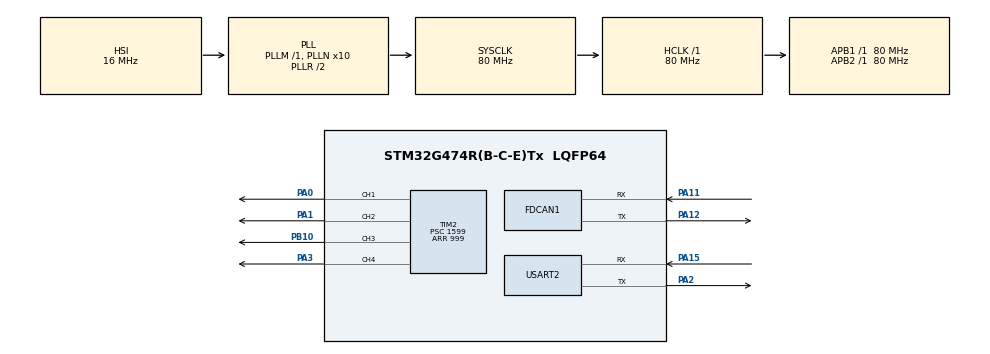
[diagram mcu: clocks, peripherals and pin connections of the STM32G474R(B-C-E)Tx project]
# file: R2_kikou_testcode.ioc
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FDCAN1.CalculateBaudRateNominal=1000000
FDCAN1.CalculateTimeBitNominal=1000
FDCAN1.CalculateTimeQuantumNominal=50.0
FDCAN1.DataPrescaler=2
FDCAN1.DataTimeSeg1=15
FDCAN1.DataTimeSeg2=4
FDCAN1.FrameFormat=FDCAN_FRAME_FD_NO_BRS
FDCAN1.NominalPrescaler=4
FDCAN1.NominalTimeSeg1=15
FDCAN1.NominalTimeSeg2=4
FDCAN1.StdFiltersNbr=1
Mcu.Family=STM32G4
Mcu.Name=STM32G474R(B-C-E)Tx
Mcu.Package=LQFP64
NVIC.FDCAN1_IT0_IRQn=true\:0\:0\:false\:false\:true\:true\:true\:true
NVIC.FDCAN1_IT1_IRQn=true\:0\:0\:false\:false\:true\:true\:true\:true
NVIC.PriorityGroup=NVIC_PRIORITYGROUP_4
PA0.Signal=S_TIM2_CH1
PA1.Signal=S_TIM2_CH2
PA11.Mode=FDCAN_Activate
PA11.Signal=FDCAN1_RX
PA12.Mode=FDCAN_Activate
PA12.Signal=FDCAN1_TX
PA15.Mode=Asynchronous
PA15.Signal=USART2_RX
PA2.Mode=Asynchronous
PA2.Signal=USART2_TX
PA3.Signal=S_TIM2_CH4
PB10.Signal=S_TIM2_CH3
ProjectManager.HeapSize=0x200
ProjectManager.StackSize=0x400
ProjectManager.TargetToolchain=CMake
RCC.ADC12Freq_Value=80000000
RCC.ADC345Freq_Value=80000000
RCC.AHBFreq_Value=80000000
RCC.APB1Freq_Value=80000000
RCC.APB1TimFreq_Value=80000000
RCC.APB2Freq_Value=80000000
RCC.APB2TimFreq_Value=80000000
RCC.CortexFreq_Value=80000000
RCC.EXTERNAL_CLOCK_VALUE=12288000
RCC.HCLKFreq_Value=80000000
RCC.HSE_VALUE=8000000
RCC.HSI48_VALUE=48000000
RCC.HSI_VALUE=16000000
RCC.LSE_VALUE=32768
RCC.PLLN=10
RCC.SYSCLKFreq_VALUE=80000000
RCC.SYSCLKSource=RCC_SYSCLKSOURCE_PLLCLK
RCC.USBFreq_Value=80000000
RCC.VCOOutputFreq_Value=160000000
SH.S_TIM2_CH1.0=TIM2_CH1,PWM Generation1 CH1
SH.S_TIM2_CH2.0=TIM2_CH2,PWM Generation2 CH2
SH.S_TIM2_CH3.0=TIM2_CH3,PWM Generation3 CH3
SH.S_TIM2_CH4.0=TIM2_CH4,PWM Generation4 CH4
TIM2.Channel-PWM\ Generation1\ CH1=TIM_CHANNEL_1
TIM2.Channel-PWM\ Generation2\ CH2=TIM_CHANNEL_2
TIM2.Channel-PWM\ Generation3\ CH3=TIM_CHANNEL_3
TIM2.Channel-PWM\ Generation4\ CH4=TIM_CHANNEL_4
TIM2.OCMode_PWM-PWM\ Generation1\ CH1=TIM_OCMODE_PWM1
TIM2.OCPolarity_1=TIM_OCPOLARITY_LOW
TIM2.OCPolarity_2=TIM_OCPOLARITY_LOW
TIM2.OCPolarity_3=TIM_OCPOLARITY_LOW
TIM2.OCPolarity_4=TIM_OCPOLARITY_LOW
TIM2.PeriodNoDither=999
TIM2.Prescaler=1599
USART2.VirtualMode-Asynchronous=VM_ASYNC
VP_SYS_VS_DBSignals.Mode=DisableDeadBatterySignals
VP_TIM2_VS_ClockSourceINT.Mode=Internal
board=custom

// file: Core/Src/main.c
/* USER CODE BEGIN Header */
/**
  ******************************************************************************
  * @file           : main.c
  * @brief          : Main program body
  ******************************************************************************
  * @attention
  *
  * Copyright (c) 2026 STMicroelectronics.
  * All rights reserved.
  *
  * This software is licensed under terms that can be found in the LICENSE file
  * in the root directory of this software component.
  * If no LICENSE file comes with this software, it is provided AS-IS.
  *
  ******************************************************************************
  */
/* USER CODE END Header */
#include "main.h"

/* USER CODE BEGIN Includes */
#include <stdio.h>
/* USER CODE END Includes */

/* USER CODE BEGIN PTD */
FDCAN_TxHeaderTypeDef TxHeader;
FDCAN_RxHeaderTypeDef RxHeader;
uint8_t TxData[8];
uint8_t RxData[8];
uint8_t last_button=0;
uint8_t state=0;
/* USER CODE END PTD */

/* USER CODE BEGIN PD */
typedef struct {
  uint8_t step[2];
  uint8_t state;
  uint8_t last_button;
} Sabomota_t;

Sabomota_t servo1 = {{25,80},0,0}; //最小25、最大120
Sabomota_t servo2 = {{65,30},0,0};
Sabomota_t servo3 = {{125,80},0,0};

//受信用の変数
volatile uint8_t sequence_cmd = 0;
volatile uint8_t sequence_start = 0;

volatile uint32_t sequence_timer = 0;
volatile uint8_t sequence_state = 0;

/* USER CODE END PD */

FDCAN_HandleTypeDef hfdcan1;

TIM_HandleTypeDef htim2;

UART_HandleTypeDef huart2;

void SystemClock_Config(void);
static void MX_GPIO_Init(void);
static void MX_FDCAN1_Init(void);
static void MX_TIM2_Init(void);
static void MX_USART2_UART_Init(void);

/* USER CODE BEGIN 0 */
void HAL_FDCAN_RxFifo1Callback(FDCAN_HandleTypeDef *hfdcan, uint32_t RxFifo0ITs)  //callback関数はmainの中に入れなくてもいい
{
  if((RxFifo0ITs & FDCAN_IT_RX_FIFO1_NEW_MESSAGE) != RESET)
  {
    if (HAL_FDCAN_GetRxMessage(&hfdcan1, FDCAN_RX_FIFO1, &RxHeader, RxData) != HAL_OK) {
      printf("fdcan_getrxmessage is error\r\n");
      Error_Handler();
    }

    printf("RX ID=0x%03lX DATA0=%d\r\n",
    RxHeader.Identifier,
    RxData[0]);

    if (RxHeader.Identifier == 0x206){
      // printf("%d\n",RxData[0]);
      sequence_cmd = RxData[0];
      sequence_start = 1;
    }
  }
}

void FDCAN_RxTxSettings(void){
	FDCAN_FilterTypeDef FDCAN_Filter_settings;
	FDCAN_Filter_settings.IdType = FDCAN_STANDARD_ID;
	FDCAN_Filter_settings.FilterIndex = 0;
	FDCAN_Filter_settings.FilterType = FDCAN_FILTER_RANGE;
	FDCAN_Filter_settings.FilterConfig = FDCAN_FILTER_TO_RXFIFO1;
	FDCAN_Filter_settings.FilterID1 = 0x000;
	FDCAN_Filter_settings.FilterID2 = 0xfff;

	TxHeader.Identifier = 0x400;
	TxHeader.IdType = FDCAN_STANDARD_ID;
	TxHeader.TxFrameType = FDCAN_DATA_FRAME;
	TxHeader.DataLength = FDCAN_DLC_BYTES_8;
	TxHeader.ErrorStateIndicator = FDCAN_ESI_ACTIVE;
	TxHeader.BitRateSwitch = FDCAN_BRS_ON;
	TxHeader.FDFormat = FDCAN_FD_CAN;
	TxHeader.TxEventFifoControl = FDCAN_NO_TX_EVENTS;
	TxHeader.MessageMarker = 0;

	if (HAL_FDCAN_ConfigFilter(&hfdcan1, &FDCAN_Filter_settings) != HAL_OK){
		printf("fdcan_configfilter is error\r\n");
		Error_Handler();
	}

	if (HAL_FDCAN_ConfigGlobalFilter(&hfdcan1, FDCAN_REJECT, FDCAN_FILTER_REJECT, FDCAN_FILTER_REMOTE, FDCAN_FILTER_REMOTE) != HAL_OK){
		printf("fdcan_configglobalfilter is error\r\n");
		Error_Handler();
	}

	if (HAL_FDCAN_Start(&hfdcan1) != HAL_OK) {
		printf("fdcan_start is error\r\n");
		Error_Handler();
	}

	if (HAL_FDCAN_ActivateNotification(&hfdcan1, FDCAN_IT_RX_FIFO1_NEW_MESSAGE, 0) != HAL_OK){
		printf("fdcan_activatenotification is error\r\n");
		Error_Handler();
	}
}

// for printf()
// int _write(int file, char *ptr, int len)
// {
//     HAL_UART_Transmit(&huart2,(uint8_t *)ptr,len,10);
//     return len;
// }
/* USER CODE END 0 */

int main(void)
{

  /* MCU Configuration--------------------------------------------------------*/

  /* Reset of all peripherals, Initializes the Flash interface and the Systick. */
  HAL_Init();

  /* Configure the system clock */
  SystemClock_Config();

  /* Initialize all configured peripherals */
  MX_GPIO_Init();
  MX_FDCAN1_Init();
  MX_TIM2_Init();
  MX_USART2_UART_Init();
  /* USER CODE BEGIN 2 */
  FDCAN_RxTxSettings();
  HAL_TIM_PWM_Start(&htim2, TIM_CHANNEL_1);
  HAL_TIM_PWM_Start(&htim2, TIM_CHANNEL_2);
  HAL_TIM_PWM_Start(&htim2, TIM_CHANNEL_3);

  HAL_Delay(2000);

  //サーボの初期位置
  __HAL_TIM_SET_COMPARE(&htim2, TIM_CHANNEL_1, servo1.step[0]);
  __HAL_TIM_SET_COMPARE(&htim2, TIM_CHANNEL_2, servo2.step[0]);
  __HAL_TIM_SET_COMPARE(&htim2, TIM_CHANNEL_3, servo3.step[0]);

  HAL_Delay(500);
  /* USER CODE END 2 */

  /* Infinite loop */
  /* USER CODE BEGIN WHILE */
  while(1)
  {
    if(sequence_start){
        sequence_start = 0;

        if(sequence_cmd){
          sequence_state = 1;
        }
        else{
          sequence_state = 10;
        }
    }

    switch(sequence_state){
        case 1:
          __HAL_TIM_SET_COMPARE(&htim2, TIM_CHANNEL_1, servo1.step[1]);
          __HAL_TIM_SET_COMPARE(&htim2, TIM_CHANNEL_3, servo3.step[1]);
          sequence_timer = HAL_GetTick();
          sequence_state = 2;
          break;

        case 2:
          if(HAL_GetTick() - sequence_timer >= 500){
            __HAL_TIM_SET_COMPARE(&htim2, TIM_CHANNEL_2, servo2.step[1]);
            sequence_state = 0;
          }
          break;

        case 10:
           __HAL_TIM_SET_COMPARE(&htim2, TIM_CHANNEL_2, servo2.step[0]);
           sequence_timer = HAL_GetTick();
           sequence_state = 11;
           break;

        case 11:
          if(HAL_GetTick() - sequence_timer >=2000){
            __HAL_TIM_SET_COMPARE(&htim2, TIM_CHANNEL_1, servo1.step[0]);
            __HAL_TIM_SET_COMPARE(&htim2, TIM_CHANNEL_3, servo3.step[0]);
            sequence_state = 0;
          }
          break;

    }
    /* USER CODE END WHILE */

  }
}

void SystemClock_Config(void)
{
  RCC_OscInitTypeDef RCC_OscInitStruct = {0};
  RCC_ClkInitTypeDef RCC_ClkInitStruct = {0};

  /** Configure the main internal regulator output voltage
  */
  HAL_PWREx_ControlVoltageScaling(PWR_REGULATOR_VOLTAGE_SCALE1);

  /** Initializes the RCC Oscillators according to the specified parameters
  * in the RCC_OscInitTypeDef structure.
  */
  RCC_OscInitStruct.OscillatorType = RCC_OSCILLATORTYPE_HSI;
  RCC_OscInitStruct.HSIState = RCC_HSI_ON;
  RCC_OscInitStruct.HSICalibrationValue = RCC_HSICALIBRATION_DEFAULT;
  RCC_OscInitStruct.PLL.PLLState = RCC_PLL_ON;
  RCC_OscInitStruct.PLL.PLLSource = RCC_PLLSOURCE_HSI;
  RCC_OscInitStruct.PLL.PLLM = RCC_PLLM_DIV1;
  RCC_OscInitStruct.PLL.PLLN = 10;
  RCC_OscInitStruct.PLL.PLLP = RCC_PLLP_DIV2;
  RCC_OscInitStruct.PLL.PLLQ = RCC_PLLQ_DIV2;
  RCC_OscInitStruct.PLL.PLLR = RCC_PLLR_DIV2;
  if (HAL_RCC_OscConfig(&RCC_OscInitStruct) != HAL_OK)
  {
    Error_Handler();
  }

  /** Initializes the CPU, AHB and APB buses clocks
  */
  RCC_ClkInitStruct.ClockType = RCC_CLOCKTYPE_HCLK|RCC_CLOCKTYPE_SYSCLK
                              |RCC_CLOCKTYPE_PCLK1|RCC_CLOCKTYPE_PCLK2;
  RCC_ClkInitStruct.SYSCLKSource = RCC_SYSCLKSOURCE_PLLCLK;
  RCC_ClkInitStruct.AHBCLKDivider = RCC_SYSCLK_DIV1;
  RCC_ClkInitStruct.APB1CLKDivider = RCC_HCLK_DIV1;
  RCC_ClkInitStruct.APB2CLKDivider = RCC_HCLK_DIV1;

  if (HAL_RCC_ClockConfig(&RCC_ClkInitStruct, FLASH_LATENCY_2) != HAL_OK)
  {
    Error_Handler();
  }
}

static void MX_FDCAN1_Init(void)
{

  hfdcan1.Instance = FDCAN1;
  hfdcan1.Init.ClockDivider = FDCAN_CLOCK_DIV1;
  hfdcan1.Init.FrameFormat = FDCAN_FRAME_FD_NO_BRS;
  hfdcan1.Init.Mode = FDCAN_MODE_NORMAL;
  hfdcan1.Init.AutoRetransmission = DISABLE;
  hfdcan1.Init.TransmitPause = DISABLE;
  hfdcan1.Init.ProtocolException = DISABLE;
  hfdcan1.Init.NominalPrescaler = 4;
  hfdcan1.Init.NominalSyncJumpWidth = 1;
  hfdcan1.Init.NominalTimeSeg1 = 15;
  hfdcan1.Init.NominalTimeSeg2 = 4;
  hfdcan1.Init.DataPrescaler = 2;
  hfdcan1.Init.DataSyncJumpWidth = 1;
  hfdcan1.Init.DataTimeSeg1 = 15;
  hfdcan1.Init.DataTimeSeg2 = 4;
  hfdcan1.Init.StdFiltersNbr = 1;
  hfdcan1.Init.ExtFiltersNbr = 0;
  hfdcan1.Init.TxFifoQueueMode = FDCAN_TX_FIFO_OPERATION;
  if (HAL_FDCAN_Init(&hfdcan1) != HAL_OK)
  {
    Error_Handler();
  }

}

static void MX_TIM2_Init(void)
{

  TIM_ClockConfigTypeDef sClockSourceConfig = {0};
  TIM_MasterConfigTypeDef sMasterConfig = {0};
  TIM_OC_InitTypeDef sConfigOC = {0};

  htim2.Instance = TIM2;
  htim2.Init.Prescaler = 1599;
  htim2.Init.CounterMode = TIM_COUNTERMODE_UP;
  htim2.Init.Period = 999;
  htim2.Init.ClockDivision = TIM_CLOCKDIVISION_DIV1;
  htim2.Init.AutoReloadPreload = TIM_AUTORELOAD_PRELOAD_DISABLE;
  if (HAL_TIM_Base_Init(&htim2) != HAL_OK)
  {
    Error_Handler();
  }
  sClockSourceConfig.ClockSource = TIM_CLOCKSOURCE_INTERNAL;
  if (HAL_TIM_ConfigClockSource(&htim2, &sClockSourceConfig) != HAL_OK)
  {
    Error_Handler();
  }
  if (HAL_TIM_PWM_Init(&htim2) != HAL_OK)
  {
    Error_Handler();
  }
  sMasterConfig.MasterOutputTrigger = TIM_TRGO_RESET;
  sMasterConfig.MasterSlaveMode = TIM_MASTERSLAVEMODE_DISABLE;
  if (HAL_TIMEx_MasterConfigSynchronization(&htim2, &sMasterConfig) != HAL_OK)
  {
    Error_Handler();
  }
  sConfigOC.OCMode = TIM_OCMODE_PWM1;
  sConfigOC.Pulse = 0;
  sConfigOC.OCPolarity = TIM_OCPOLARITY_LOW;
  sConfigOC.OCFastMode = TIM_OCFAST_DISABLE;
  if (HAL_TIM_PWM_ConfigChannel(&htim2, &sConfigOC, TIM_CHANNEL_1) != HAL_OK)
  {
    Error_Handler();
  }
  if (HAL_TIM_PWM_ConfigChannel(&htim2, &sConfigOC, TIM_CHANNEL_2) != HAL_OK)
  {
    Error_Handler();
  }
  if (HAL_TIM_PWM_ConfigChannel(&htim2, &sConfigOC, TIM_CHANNEL_3) != HAL_OK)
  {
    Error_Handler();
  }
  if (HAL_TIM_PWM_ConfigChannel(&htim2, &sConfigOC, TIM_CHANNEL_4) != HAL_OK)
  {
    Error_Handler();
  }
  HAL_TIM_MspPostInit(&htim2);

}

static void MX_USART2_UART_Init(void)
{

  huart2.Instance = USART2;
  huart2.Init.BaudRate = 115200;
  huart2.Init.WordLength = UART_WORDLENGTH_8B;
  huart2.Init.StopBits = UART_STOPBITS_1;
  huart2.Init.Parity = UART_PARITY_NONE;
  huart2.Init.Mode = UART_MODE_TX_RX;
  huart2.Init.HwFlowCtl = UART_HWCONTROL_NONE;
  huart2.Init.OverSampling = UART_OVERSAMPLING_16;
  huart2.Init.OneBitSampling = UART_ONE_BIT_SAMPLE_DISABLE;
  huart2.Init.ClockPrescaler = UART_PRESCALER_DIV1;
  huart2.AdvancedInit.AdvFeatureInit = UART_ADVFEATURE_NO_INIT;
  if (HAL_UART_Init(&huart2) != HAL_OK)
  {
    Error_Handler();
  }
  if (HAL_UARTEx_SetTxFifoThreshold(&huart2, UART_TXFIFO_THRESHOLD_1_8) != HAL_OK)
  {
    Error_Handler();
  }
  if (HAL_UARTEx_SetRxFifoThreshold(&huart2, UART_RXFIFO_THRESHOLD_1_8) != HAL_OK)
  {
    Error_Handler();
  }
  if (HAL_UARTEx_DisableFifoMode(&huart2) != HAL_OK)
  {
    Error_Handler();
  }

}

static void MX_GPIO_Init(void)
{

  /* GPIO Ports Clock Enable */
  __HAL_RCC_GPIOA_CLK_ENABLE();
  __HAL_RCC_GPIOB_CLK_ENABLE();

}

void Error_Handler(void)
{
  __disable_irq();
  while (1)
  {
  }
}
